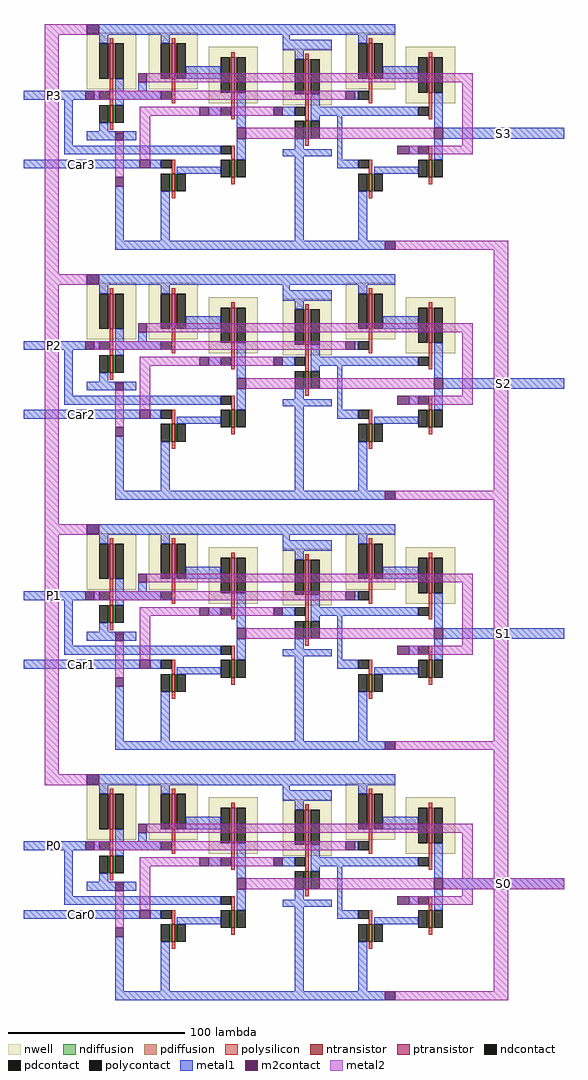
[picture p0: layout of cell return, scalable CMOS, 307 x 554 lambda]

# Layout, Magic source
magic
tech scmos
<< metal1 >>
rect 0 85 35 90
rect 238 63 307 69
rect 0 46 66 51
rect 0 -57 35 -52
rect 238 -79 307 -73
rect 0 -96 66 -91
rect 0 -199 35 -194
rect 238 -221 307 -215
rect 0 -238 66 -233
rect 0 -341 35 -336
rect 238 -363 307 -357
rect 0 -380 66 -375
<< m2contact >>
rect 36 122 43 128
rect 205 0 211 5
rect 36 -20 43 -14
rect 205 -142 211 -137
rect 36 -162 43 -156
rect 205 -284 211 -279
rect 36 -304 43 -298
rect 205 -426 211 -421
<< metal2 >>
rect 12 122 36 128
rect 12 -14 20 122
rect 211 0 275 5
rect 12 -20 36 -14
rect 12 -156 20 -20
rect 267 -137 275 0
rect 211 -142 275 -137
rect 12 -162 36 -156
rect 12 -298 20 -162
rect 267 -279 275 -142
rect 211 -284 275 -279
rect 12 -304 36 -298
rect 267 -357 275 -284
rect 238 -363 307 -357
rect 267 -421 275 -363
rect 211 -426 275 -421
use xorgate  xorgate_0
transform 1 0 142 0 1 53
box -142 -53 138 75
use xorgate  xorgate_1
transform 1 0 142 0 1 -89
box -142 -53 138 75
use xorgate  xorgate_2
transform 1 0 142 0 1 -231
box -142 -53 138 75
use xorgate  xorgate_3
transform 1 0 142 0 1 -373
box -142 -53 138 75
<< labels >>
rlabel metal1 238 63 307 69 1 S3
rlabel metal1 238 -79 307 -73 1 S2
rlabel metal1 238 -221 307 -215 1 S1
rlabel metal2 238 -363 307 -357 1 S0
rlabel metal1 0 -380 66 -375 1 Car0
rlabel metal1 0 -238 66 -233 1 Car1
rlabel metal1 0 -96 66 -91 1 Car2
rlabel metal1 0 46 66 51 1 Car3
rlabel metal1 0 85 35 90 1 P3
rlabel metal1 0 -57 35 -52 1 P2
rlabel metal1 0 -199 35 -194 1 P1
rlabel metal1 0 -341 35 -336 1 P0
<< end >>

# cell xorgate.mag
magic
tech scmos
<< nwell >>
rect -71 38 -43 70
rect -37 30 -9 62
rect 41 38 69 70
rect 75 30 103 62
<< ntransistor >>
rect -58 -20 -56 -10
rect -24 -12 -22 -2
rect 54 -20 56 -10
rect 88 -12 90 -2
<< ptransistor >>
rect -58 44 -56 64
rect -24 36 -22 56
rect 54 44 56 64
rect 88 36 90 56
<< ndiffusion >>
rect -59 -20 -58 -10
rect -56 -20 -55 -10
rect -25 -12 -24 -2
rect -22 -12 -21 -2
rect 53 -20 54 -10
rect 56 -20 57 -10
rect 87 -12 88 -2
rect 90 -12 91 -2
<< pdiffusion >>
rect -59 44 -58 64
rect -56 44 -55 64
rect -25 36 -24 56
rect -22 36 -21 56
rect 53 44 54 64
rect 56 44 57 64
rect 87 36 88 56
rect 90 36 91 56
<< ndcontact >>
rect -64 -20 -59 -10
rect -55 -20 -50 -10
rect -30 -12 -25 -2
rect -21 -12 -16 -2
rect 48 -20 53 -10
rect 57 -20 62 -10
rect 82 -12 87 -2
rect 91 -12 96 -2
<< pdcontact >>
rect -64 44 -59 64
rect -55 44 -50 64
rect -30 36 -25 56
rect -21 36 -16 56
rect 48 44 53 64
rect 57 44 62 64
rect 82 36 87 56
rect 91 36 96 56
<< polysilicon >>
rect -58 64 -56 67
rect 54 64 56 67
rect -24 56 -22 59
rect -58 30 -56 44
rect 88 56 90 59
rect -24 21 -22 36
rect 54 30 56 44
rect 88 21 90 36
rect -24 -2 -22 6
rect 88 -2 90 6
rect -58 -10 -56 -2
rect 54 -10 56 -2
rect -24 -16 -22 -12
rect 88 -16 90 -12
rect -58 -24 -56 -20
rect 54 -24 56 -20
<< polycontact >>
rect -64 32 -58 37
rect -30 23 -24 28
rect 48 32 54 37
rect 82 23 88 28
rect -30 1 -24 6
rect 82 1 88 6
rect -64 -7 -58 -2
rect 48 -7 54 -2
<< metal1 >>
rect -106 69 69 75
rect -64 64 -59 69
rect 5 64 9 69
rect 48 64 53 69
rect -50 44 -30 51
rect -77 37 -72 42
rect -130 32 -111 37
rect -90 32 -64 37
rect 62 44 82 51
rect -119 6 -114 32
rect -37 23 -30 28
rect -21 16 -16 36
rect 46 32 48 37
rect 36 23 82 28
rect -106 13 -90 14
rect -85 13 -78 14
rect -119 1 -30 6
rect -21 -2 -16 10
rect -142 -7 -76 -2
rect -70 -7 -64 -2
rect -55 -10 -30 -6
rect -90 -48 -85 -17
rect -64 -48 -59 -20
rect 12 -48 17 2
rect 36 -2 39 23
rect 91 16 96 36
rect 96 10 138 16
rect 77 1 82 6
rect 91 -2 96 10
rect 36 -7 48 -2
rect 57 -10 82 -6
rect 48 -48 53 -20
rect -90 -53 69 -48
<< m2contact >>
rect -77 42 -72 47
rect -107 32 -102 37
rect -42 23 -37 28
rect 41 32 46 37
rect 0 23 5 28
rect -90 9 -85 14
rect -21 10 -16 16
rect -76 -7 -70 -2
rect -90 -17 -85 -12
rect 91 10 96 16
rect 70 1 77 6
<< metal2 >>
rect -72 42 113 47
rect -102 32 41 37
rect -76 23 -42 28
rect -37 23 0 28
rect -90 -12 -85 9
rect -76 -2 -70 23
rect -16 10 91 16
rect 107 6 113 42
rect 77 1 113 6
use inverter  inverter_1
transform 1 0 -93 0 1 45
box -18 -36 21 30
use inverter  inverter_0
transform 1 0 18 0 1 36
box -18 -36 21 30
<< end >>

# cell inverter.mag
magic
tech scmos
<< nwell >>
rect -13 -7 15 25
<< ntransistor >>
rect 0 -26 2 -16
<< ptransistor >>
rect 0 -1 2 19
<< ndiffusion >>
rect -1 -26 0 -16
rect 2 -26 3 -16
<< pdiffusion >>
rect -1 -1 0 19
rect 2 -1 3 19
<< ndcontact >>
rect -6 -26 -1 -16
rect 3 -26 8 -16
<< pdcontact >>
rect -6 -1 -1 19
rect 3 -1 8 19
<< polysilicon >>
rect 0 19 2 22
rect 0 -16 2 -1
rect 0 -30 2 -26
<< polycontact >>
rect -6 -13 0 -8
<< metal1 >>
rect -13 24 15 30
rect -6 19 -1 24
rect 3 -8 8 -1
rect -18 -13 -6 -8
rect 3 -13 21 -8
rect 3 -16 8 -13
rect -6 -32 -1 -26
rect -13 -36 15 -32
<< end >>
